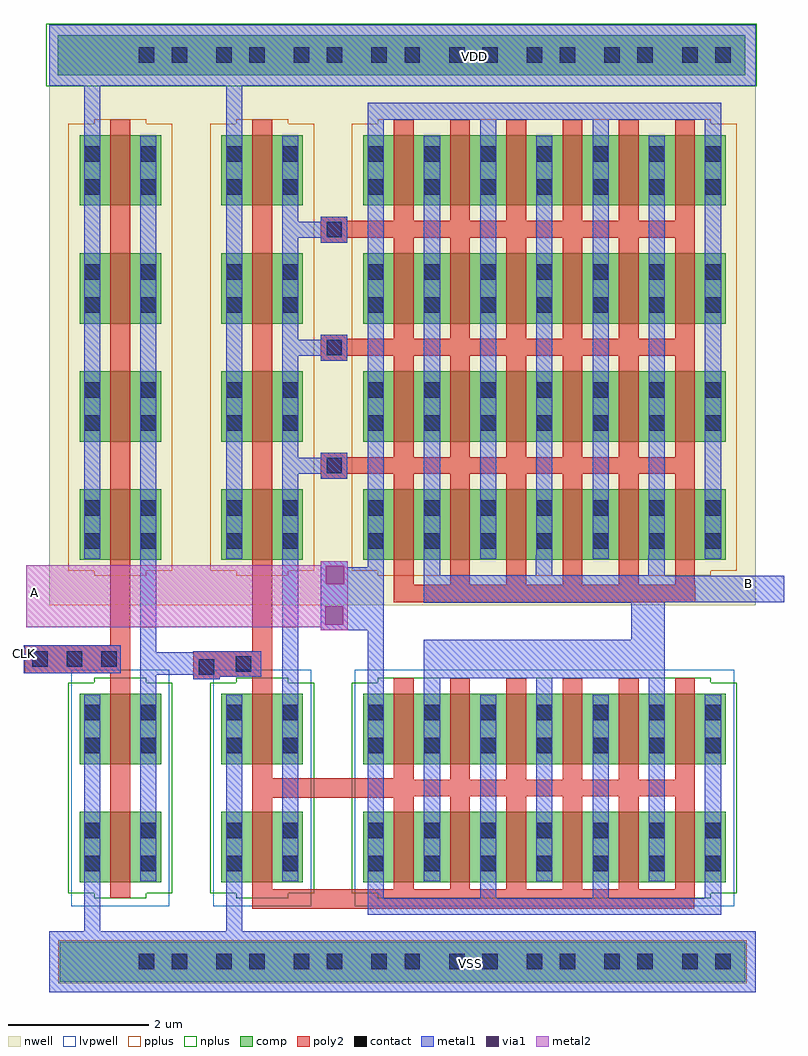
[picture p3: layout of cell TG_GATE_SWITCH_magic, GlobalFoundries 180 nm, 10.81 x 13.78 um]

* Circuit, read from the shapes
.subckt TG_GATE_SWITCH_magic A B CLK VDD VSS
XM1 n1 CLK VSS VSS nfet_03v3 w=1u l=0.28u m=2
XM2 n2 n1 VSS VSS nfet_03v3 w=1u l=0.28u m=2
XM3 B n1 A VSS nfet_03v3 w=1u l=0.28u m=12
XM4 n1 CLK VDD VDD pfet_03v3 w=1u l=0.28u m=4
XM5 n2 n1 VDD VDD pfet_03v3 w=1u l=0.28u m=4
XM6 B n2 A VDD pfet_03v3 w=1u l=0.28u m=24
.ends

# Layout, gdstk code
import gdstk
lib = gdstk.Library(unit=1e-6, precision=1e-09)
def R(c, l, rs):  # rectangles x0, y0, x1, y1
    for r in rs: c.add(gdstk.rectangle(r[:2], r[2:], *l))
def A(c, l, x, y, w, h, nx, ny, dx, dy):  # array of equal rectangles
    R(c, l, [(x+i*dx, y+j*dy, x+i*dx+w, y+j*dy+h) for i in range(nx) for j in range(ny)])
nwell = (21, 0)
comp = (22, 0)
poly2 = (30, 0)
pplus = (31, 0)
nplus = (32, 0)
contact = (33, 0)
metal1 = (34, 0)
via1 = (35, 0)
metal2 = (36, 0)
lvpwell = (204, 0)

pmos_3p3_mnhnar = lib.new_cell('pmos_3p3_MNHNAR')
R(pmos_3p3_mnhnar, nwell, [(-1.01,-3.67,1.01,3.67)])
A(pmos_3p3_mnhnar, comp, -0.58, -3.02, 1.16, 1, 1, 4, 0, 1.68)
A(pmos_3p3_mnhnar, poly2, -0.14, -3.24, 0.28, 1.44, 1, 4, 0, 1.68)
R(pmos_3p3_mnhnar, pplus, [(-0.37,-3.25,0.37,-3.18), (-0.74,-3.18,0.74,3.18), (-0.37,3.18,0.37,3.25)])
R(pmos_3p3_mnhnar, contact, [(-0.51,-2.865,-0.29,-2.645), (0.29,-2.865,0.51,-2.645), (-0.51,-2.395,-0.29,-2.175), (0.29,-2.395,0.51,-2.175), (-0.51,-1.185,-0.29,-0.965), (0.29,-1.185,0.51,-0.965), (-0.51,-0.715,-0.29,-0.495), (0.29,-0.715,0.51,-0.495), (-0.51,0.495,-0.29,0.715), (0.29,0.495,0.51,0.715), (-0.51,0.965,-0.29,1.185), (0.29,0.965,0.51,1.185), (-0.51,2.175,-0.29,2.395), (0.29,2.175,0.51,2.395), (-0.51,2.645,-0.29,2.865), (0.29,2.645,0.51,2.865)])
A(pmos_3p3_mnhnar, metal1, -0.515, -3.01, 0.23, 0.98, 1, 4, 0, 1.68)
A(pmos_3p3_mnhnar, metal1, 0.285, -3.01, 0.23, 0.98, 1, 4, 0, 1.68)

pmos_3p3_menmar = lib.new_cell('pmos_3p3_MENMAR')
R(pmos_3p3_menmar, nwell, [(-3.01,-3.67,3.01,3.67)])
A(pmos_3p3_menmar, comp, -2.58, -3.02, 5.16, 1, 1, 4, 0, 1.68)
A(pmos_3p3_menmar, poly2, -2.14, -3.24, 0.28, 1.44, 6, 4, 0.8, 1.68)
R(pmos_3p3_menmar, pplus, [(-2.37,-3.25,2.37,-3.18), (-2.74,-3.18,2.74,3.18), (-2.37,3.18,2.37,3.25)])
A(pmos_3p3_menmar, contact, -2.51, -2.865, 0.22, 0.22, 7, 2, 0.8, 0.47)
A(pmos_3p3_menmar, contact, -2.51, -1.185, 0.22, 0.22, 7, 2, 0.8, 0.47)
A(pmos_3p3_menmar, contact, -2.51, 0.495, 0.22, 0.22, 7, 2, 0.8, 0.47)
A(pmos_3p3_menmar, contact, -2.51, 2.175, 0.22, 0.22, 7, 2, 0.8, 0.47)
A(pmos_3p3_menmar, metal1, -2.515, -3.01, 0.23, 0.98, 7, 4, 0.8, 1.68)

nmos_3p3_k66rt2 = lib.new_cell('nmos_3p3_K66RT2')
R(nmos_3p3_k66rt2, comp, [(-0.58,-1.34,0.58,-0.34), (-0.58,0.34,0.58,1.34)])
R(nmos_3p3_k66rt2, poly2, [(-0.14,-1.56,0.14,-0.12), (-0.14,0.12,0.14,1.56)])
R(nmos_3p3_k66rt2, nplus, [(-0.37,-1.57,0.37,-1.5), (-0.74,-1.5,0.74,1.5), (-0.37,1.5,0.37,1.57)])
R(nmos_3p3_k66rt2, contact, [(-0.51,-1.185,-0.29,-0.965), (0.29,-1.185,0.51,-0.965), (-0.51,-0.715,-0.29,-0.495), (0.29,-0.715,0.51,-0.495), (-0.51,0.495,-0.29,0.715), (0.29,0.495,0.51,0.715), (-0.51,0.965,-0.29,1.185), (0.29,0.965,0.51,1.185)])
R(nmos_3p3_k66rt2, metal1, [(-0.515,-1.33,-0.285,-0.35), (0.285,-1.33,0.515,-0.35), (-0.515,0.35,-0.285,1.33), (0.285,0.35,0.515,1.33)])
R(nmos_3p3_k66rt2, lvpwell, [(-0.7,-1.68,0.7,1.68)])

nmos_3p3_cu6rt2 = lib.new_cell('nmos_3p3_CU6RT2')
R(nmos_3p3_cu6rt2, comp, [(-2.58,-1.34,2.58,-0.34), (-2.58,0.34,2.58,1.34)])
A(nmos_3p3_cu6rt2, poly2, -2.14, -1.56, 0.28, 1.44, 6, 2, 0.8, 1.68)
R(nmos_3p3_cu6rt2, nplus, [(-2.37,-1.57,2.37,-1.5), (-2.74,-1.5,2.74,1.5), (-2.37,1.5,2.37,1.57)])
A(nmos_3p3_cu6rt2, contact, -2.51, -1.185, 0.22, 0.22, 7, 2, 0.8, 0.47)
A(nmos_3p3_cu6rt2, contact, -2.51, 0.495, 0.22, 0.22, 7, 2, 0.8, 0.47)
A(nmos_3p3_cu6rt2, metal1, -2.515, -1.33, 0.23, 0.98, 7, 2, 0.8, 1.68)
R(nmos_3p3_cu6rt2, lvpwell, [(-2.7,-1.68,2.7,1.68)])

tg_gate_switch_magic = lib.new_cell('TG_GATE_SWITCH_magic')
R(tg_gate_switch_magic, nwell, [(2.025,1.335,2.41,1.725), (-1.835,8.44,8.22,9.365)])
R(tg_gate_switch_magic, comp, [(-1.685,-4.255,8.07,-3.685), (-1.715,8.645,8.07,9.215)])
A(tg_gate_switch_magic, poly2, 3.07, 1.395, 0.28, 0.15, 3, 1, 0.8, 0)
A(tg_gate_switch_magic, poly2, 2.03, 2.9, 0.375, 0.07, 1, 3, 0, 1.68)
A(tg_gate_switch_magic, poly2, -0.965, 2.97, 0.28, 0.25, 1, 3, 0, 1.68)
A(tg_gate_switch_magic, poly2, 1.055, 2.97, 0.28, 0.24, 1, 3, 0, 1.68)
A(tg_gate_switch_magic, poly2, 2.03, 2.97, 5.32, 0.24, 1, 3, 0, 1.68)
A(tg_gate_switch_magic, poly2, 2.03, 3.21, 0.375, 0.06, 1, 3, 0, 1.68)
R(tg_gate_switch_magic, poly2, [(1.055,-3.22,7.345,-2.94), (1.2,-1.64,3.35,-1.62), (-0.965,-1.625,-0.685,-1.375), (1.055,-1.62,7.35,-1.38), (1.2,-1.38,3.35,-1.36), (-0.965,-0.055,-0.685,0.135), (0.21,0.045,0.59,0.085), (1.055,0.06,1.335,0.085), (0.21,0.085,1.335,0.445), (-2.185,0.135,-0.685,0.535), (1.055,0.445,1.335,1.68), (-0.965,0.535,-0.685,1.75), (3.07,1.145,7.355,1.395), (5.47,1.395,5.75,1.55), (6.27,1.395,6.55,1.545), (7.07,1.395,7.35,1.55)])
R(tg_gate_switch_magic, pplus, [(-1.705,-4.275,8.09,-3.665)])
R(tg_gate_switch_magic, nplus, [(-1.875,8.485,8.23,9.375)])
A(tg_gate_switch_magic, contact, -2.075, 0.225, 0.22, 0.22, 3, 1, 0.49, 0)
A(tg_gate_switch_magic, contact, 2.11, 2.98, 0.22, 0.22, 1, 3, 0, 1.68)
R(tg_gate_switch_magic, contact, [(-0.565,-4.08,-0.345,-3.86), (-0.095,-4.08,0.125,-3.86), (0.54,-4.08,0.76,-3.86), (1.01,-4.08,1.23,-3.86), (1.645,-4.08,1.865,-3.86), (2.115,-4.08,2.335,-3.86), (2.75,-4.08,2.97,-3.86), (3.22,-4.08,3.44,-3.86), (3.855,-4.08,4.075,-3.86), (4.325,-4.08,4.545,-3.86), (4.96,-4.08,5.18,-3.86), (5.43,-4.08,5.65,-3.86), (6.065,-4.08,6.285,-3.86), (6.535,-4.08,6.755,-3.86), (7.17,-4.08,7.39,-3.86), (7.64,-4.08,7.86,-3.86), (0.29,0.115,0.51,0.335), (0.82,0.155,1.04,0.375), (-0.565,8.82,-0.345,9.04), (-0.095,8.82,0.125,9.04), (0.54,8.82,0.76,9.04), (1.01,8.82,1.23,9.04), (1.645,8.82,1.865,9.04), (2.115,8.82,2.335,9.04), (2.75,8.82,2.97,9.04), (3.22,8.82,3.44,9.04), (3.855,8.82,4.075,9.04), (4.325,8.82,4.545,9.04), (4.96,8.82,5.18,9.04), (5.43,8.82,5.65,9.04), (6.065,8.82,6.285,9.04), (6.535,8.82,6.755,9.04), (7.17,8.82,7.39,9.04), (7.64,8.82,7.86,9.04)])
A(tg_gate_switch_magic, metal1, 4.295, -3.065, 0.23, 0.29, 3, 1, 1.6, 0)
A(tg_gate_switch_magic, metal1, 4.295, -1.905, 0.23, 0.81, 5, 1, 0.8, 0)
A(tg_gate_switch_magic, metal1, 1.48, 2.97, 0.925, 0.23, 1, 3, 0, 1.68)
A(tg_gate_switch_magic, metal1, 4.295, 7.725, 0.23, 0.285, 3, 1, 1.6, 0)
R(tg_gate_switch_magic, metal1, [(-1.835,-4.405,8.22,-3.535), (-1.34,-3.535,-1.11,-0.17), (0.68,-3.535,0.91,-2.775), (2.695,-3.305,7.725,-3.065), (2.695,-3.065,2.925,-2.77), (-0.54,-2.83,-0.31,0.115), (0.68,-1.905,0.91,-1.095), (1.48,-1.905,1.71,-1.095), (2.695,-1.905,2.925,-1.095), (3.495,-1.85,3.725,-1.095), (5.095,-0.23,5.325,0.065), (1.48,-0.225,1.71,1.815), (2.695,-0.225,2.925,0.745), (3.495,-0.225,3.725,0.065), (6.695,-0.225,6.925,0.065), (0.21,0.045,0.59,0.085), (3.495,0.065,6.925,0.61), (0.21,0.085,1.18,0.115), (-0.54,0.115,1.18,0.43), (-2.195,0.135,-0.815,0.535), (-0.54,0.43,-0.31,7.78), (0.21,0.43,1.18,0.445), (6.445,0.61,6.925,1.135), (2.025,0.745,2.925,1.645), (3.495,1.135,6.925,1.145), (3.495,1.145,8.62,1.52), (3.495,1.52,6.925,1.53), (3.495,1.53,3.725,1.815), (5.09,1.53,5.325,1.815), (6.69,1.53,6.925,1.815), (2.025,1.645,2.41,1.725), (2.695,1.645,2.925,1.815), (-1.34,1.76,-1.11,8.495), (3.49,2.595,3.725,2.825), (4.295,2.595,4.525,6.86), (5.095,2.63,5.325,6.895), (6.695,2.65,6.925,6.915), (7.495,2.65,7.725,6.915), (5.895,2.665,6.125,6.93), (0.68,2.685,0.91,6.855), (1.48,2.685,1.71,2.97), (2.695,2.685,2.925,6.855), (3.495,2.825,3.725,3.5), (2.03,2.9,2.405,2.97), (1.48,3.2,1.71,4.65), (2.03,3.2,2.405,3.27), (3.495,4.42,3.725,5.32), (2.03,4.58,2.405,4.65), (1.48,4.88,1.71,6.33), (2.03,4.88,2.405,4.95), (3.495,5.955,3.725,6.85), (2.03,6.26,2.405,6.33), (1.48,6.56,1.71,6.855), (2.03,6.56,2.405,6.63), (3.495,6.85,3.72,6.855), (2.695,7.72,2.925,8.01), (0.68,7.725,0.91,8.495), (2.695,8.01,7.725,8.25), (-1.835,8.495,8.22,9.365)])
R(tg_gate_switch_magic, via1, [(2.09,0.825,2.35,1.085), (2.1,1.4,2.36,1.66)])
R(tg_gate_switch_magic, metal2, [(2.025,0.745,2.41,0.79), (-2.16,0.79,2.41,1.67), (2.025,1.67,2.41,1.725)])
tg_gate_switch_magic.add(gdstk.Reference(pmos_3p3_mnhnar, (1.195,4.77)))
tg_gate_switch_magic.add(gdstk.Reference(pmos_3p3_mnhnar, (-0.825,4.77)))
tg_gate_switch_magic.add(gdstk.Reference(pmos_3p3_menmar, (5.21,4.77)))
tg_gate_switch_magic.add(gdstk.Reference(nmos_3p3_k66rt2, (-0.825,-1.5)))
tg_gate_switch_magic.add(gdstk.Reference(nmos_3p3_k66rt2, (1.195,-1.5)))
tg_gate_switch_magic.add(gdstk.Reference(nmos_3p3_cu6rt2, (5.21,-1.5)))
tg_gate_switch_magic.add(gdstk.Label('B', (8.12,1.41), layer=34, texttype=10))
tg_gate_switch_magic.add(gdstk.Label('VDD', (4.21,8.905), layer=22, texttype=0))
tg_gate_switch_magic.add(gdstk.Label('VSS', (4.165,-3.99), layer=22, texttype=0))
tg_gate_switch_magic.add(gdstk.Label('A', (-2.045,1.285), layer=36, texttype=10))
tg_gate_switch_magic.add(gdstk.Label('CLK', (-2.19,0.42), layer=34, texttype=10))

lib.write_gds('TG_GATE_SWITCH_magic.gds')
